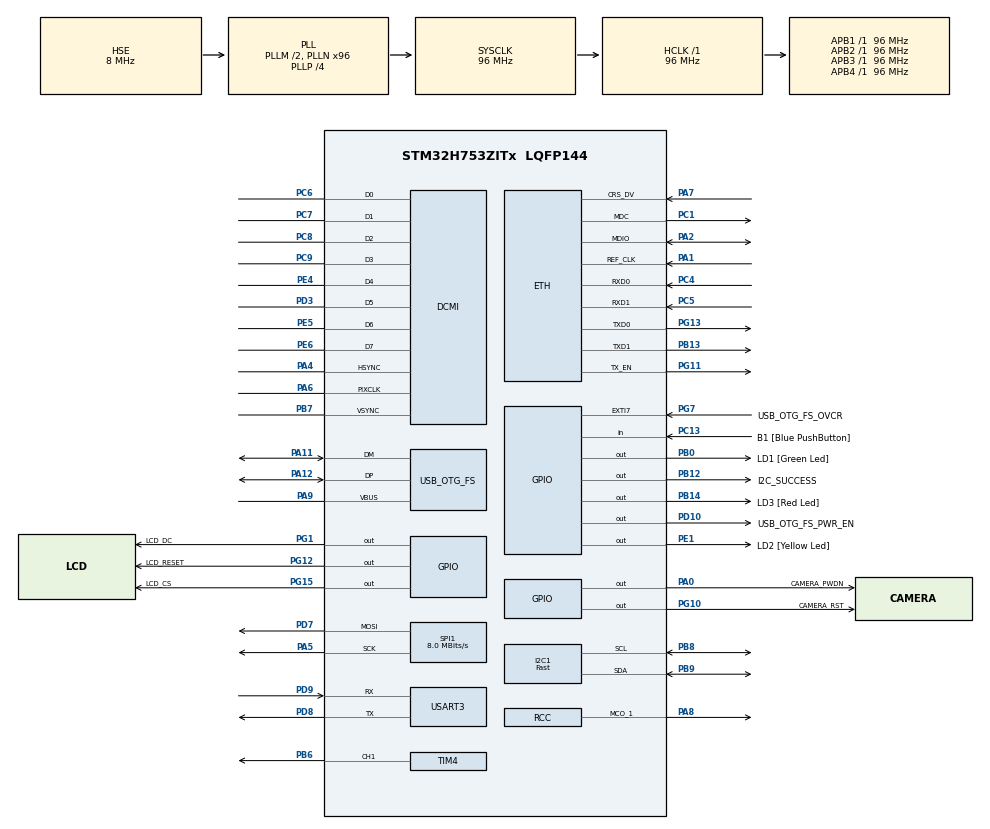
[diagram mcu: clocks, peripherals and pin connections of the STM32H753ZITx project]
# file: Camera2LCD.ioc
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CORTEX_M7.CPU_DCache=Disabled
CORTEX_M7.CPU_ICache=Disabled
CORTEX_M7.MPU_Control=__NULL
DCMI.HSPolarity=DCMI_HSPOLARITY_HIGH
DCMI.JPEGMode=DCMI_JPEG_DISABLE
DCMI.PCKPolarity=DCMI_PCKPOLARITY_RISING
DCMI.VSPolarity=DCMI_VSPOLARITY_LOW
Dma.DCMI.0.Direction=DMA_PERIPH_TO_MEMORY
Dma.DCMI.0.EventEnable=DISABLE
Dma.DCMI.0.FIFOMode=DMA_FIFOMODE_ENABLE
Dma.DCMI.0.FIFOThreshold=DMA_FIFO_THRESHOLD_FULL
Dma.DCMI.0.Instance=DMA1_Stream0
Dma.DCMI.0.MemBurst=DMA_MBURST_SINGLE
Dma.DCMI.0.MemDataAlignment=DMA_MDATAALIGN_WORD
Dma.DCMI.0.MemInc=DMA_MINC_ENABLE
Dma.DCMI.0.Mode=DMA_NORMAL
Dma.DCMI.0.PeriphBurst=DMA_PBURST_SINGLE
Dma.DCMI.0.PeriphDataAlignment=DMA_PDATAALIGN_WORD
Dma.DCMI.0.PeriphInc=DMA_PINC_DISABLE
Dma.DCMI.0.Polarity=HAL_DMAMUX_REQ_GEN_RISING
Dma.DCMI.0.Priority=DMA_PRIORITY_VERY_HIGH
Dma.DCMI.0.RequestNumber=1
Dma.DCMI.0.SignalID=NONE
Dma.DCMI.0.SyncEnable=DISABLE
Dma.DCMI.0.SyncPolarity=HAL_DMAMUX_SYNC_NO_EVENT
Dma.DCMI.0.SyncRequestNumber=1
Dma.DCMI.0.SyncSignalID=NONE
Dma.Request0=DCMI
Dma.Request1=SPI1_TX
Dma.SPI1_TX.1.Direction=DMA_MEMORY_TO_PERIPH
Dma.SPI1_TX.1.EventEnable=DISABLE
Dma.SPI1_TX.1.FIFOMode=DMA_FIFOMODE_ENABLE
Dma.SPI1_TX.1.FIFOThreshold=DMA_FIFO_THRESHOLD_FULL
Dma.SPI1_TX.1.Instance=DMA1_Stream1
Dma.SPI1_TX.1.MemBurst=DMA_MBURST_SINGLE
Dma.SPI1_TX.1.MemDataAlignment=DMA_MDATAALIGN_BYTE
Dma.SPI1_TX.1.MemInc=DMA_MINC_ENABLE
Dma.SPI1_TX.1.Mode=DMA_NORMAL
Dma.SPI1_TX.1.PeriphBurst=DMA_PBURST_SINGLE
Dma.SPI1_TX.1.PeriphDataAlignment=DMA_PDATAALIGN_BYTE
Dma.SPI1_TX.1.PeriphInc=DMA_PINC_DISABLE
Dma.SPI1_TX.1.Polarity=HAL_DMAMUX_REQ_GEN_RISING
Dma.SPI1_TX.1.Priority=DMA_PRIORITY_HIGH
Dma.SPI1_TX.1.RequestNumber=1
Dma.SPI1_TX.1.SignalID=NONE
Dma.SPI1_TX.1.SyncEnable=DISABLE
Dma.SPI1_TX.1.SyncPolarity=HAL_DMAMUX_SYNC_NO_EVENT
Dma.SPI1_TX.1.SyncRequestNumber=1
Dma.SPI1_TX.1.SyncSignalID=NONE
ETH.ETH_RX_DESC_CNT=4
ETH.ETH_TX_DESC_CNT=4
ETH.MACAddr=00\:80\:E1\:00\:00\:00
ETH.MediaInterface=HAL_ETH_RMII_MODE
ETH.RxBuffAddress=0x30040200
ETH.RxBuffLen=1524
ETH.RxDescAddress=0x30040000
ETH.TxDescAddress=0x30040060
I2C1.I2C_Speed_Mode=I2C_Fast
I2C1.Speed=200
I2C1.Timing=0x60000008
Mcu.Family=STM32H7
Mcu.Name=STM32H753ZITx
Mcu.Package=LQFP144
NVIC.DCMI_IRQn=true\:0\:0\:false\:false\:true\:true\:true\:true
NVIC.DMA1_Stream0_IRQn=true\:0\:0\:false\:false\:true\:false\:true\:true
NVIC.DMA1_Stream1_IRQn=true\:0\:0\:false\:false\:true\:false\:true\:true
NVIC.PriorityGroup=NVIC_PRIORITYGROUP_4
NVIC.SPI1_IRQn=true\:0\:0\:false\:false\:true\:false\:true\:true
NVIC.TIM4_IRQn=true\:0\:0\:false\:false\:true\:true\:true\:true
PA0.GPIO_Label=CAMERA_PWDN
PA0.PinState=GPIO_PIN_SET
PA0.Signal=GPIO_Output
PA1.Mode=RMII
PA1.Signal=ETH_REF_CLK
PA11.Mode=Device_Only
PA11.Signal=USB_OTG_FS_DM
PA12.Mode=Device_Only
PA12.Signal=USB_OTG_FS_DP
PA2.Mode=RMII
PA2.Signal=ETH_MDIO
PA4.Mode=Slave_8_bits_External_Synchro
PA4.Signal=DCMI_HSYNC
PA5.GPIO_PuPd=GPIO_PULLDOWN
PA5.GPIO_Speed=GPIO_SPEED_FREQ_VERY_HIGH
PA5.Mode=TX_Only_Simplex_Unidirect_Master
PA5.Signal=SPI1_SCK
PA6.GPIO_Speed=GPIO_SPEED_FREQ_VERY_HIGH
PA6.Mode=Slave_8_bits_External_Synchro
PA6.Signal=DCMI_PIXCLK
PA7.Mode=RMII
PA7.Signal=ETH_CRS_DV
PA8.GPIO_Speed=GPIO_SPEED_FREQ_VERY_HIGH
PA8.Mode=Clock-out-1
PA8.Signal=RCC_MCO_1
PA9.Mode=Activate_VBUS
PA9.Signal=USB_OTG_FS_VBUS
PB0.GPIO_Label=LD1 [Green Led]
PB0.Signal=GPIO_Output
PB12.GPIO_Label=I2C_SUCCESS
PB12.Signal=GPIO_Output
PB13.Mode=RMII
PB13.Signal=ETH_TXD1
PB14.GPIO_Label=LD3 [Red Led]
PB14.Signal=GPIO_Output
PB6.GPIO_FM6=SYSCFG_PMCR_I2C_PB6_FMP
PB6.GPIO_Speed=GPIO_SPEED_FREQ_VERY_HIGH
PB6.Signal=S_TIM4_CH1
PB7.Mode=Slave_8_bits_External_Synchro
PB7.Signal=DCMI_VSYNC
PB8.GPIO_Pu=GPIO_PULLUP
PB8.Mode=I2C
PB8.Signal=I2C1_SCL
PB9.GPIO_Pu=GPIO_PULLUP
PB9.Mode=I2C
PB9.Signal=I2C1_SDA
PC1.Mode=RMII
PC1.Signal=ETH_MDC
PC13.GPIO_Label=B1 [Blue PushButton]
PC13.Signal=GPIO_Input
PC14-OSC32_IN\ (OSC32_IN).Mode=LSE-External-Oscillator
PC14-OSC32_IN\ (OSC32_IN).Signal=RCC_OSC32_IN
PC15-OSC32_OUT\ (OSC32_OUT).Mode=LSE-External-Oscillator
PC15-OSC32_OUT\ (OSC32_OUT).Signal=RCC_OSC32_OUT
PC4.Mode=RMII
PC4.Signal=ETH_RXD0
PC5.Mode=RMII
PC5.Signal=ETH_RXD1
PC6.Mode=Slave_8_bits_External_Synchro
PC6.Signal=DCMI_D0
PC7.Mode=Slave_8_bits_External_Synchro
PC7.Signal=DCMI_D1
PC8.Mode=Slave_8_bits_External_Synchro
PC8.Signal=DCMI_D2
PC9.Mode=Slave_8_bits_External_Synchro
PC9.Signal=DCMI_D3
PD10.GPIO_Label=USB_OTG_FS_PWR_EN
PD10.Signal=GPIO_Output
PD3.Mode=Slave_8_bits_External_Synchro
PD3.Signal=DCMI_D5
PD7.GPIO_Speed=GPIO_SPEED_FREQ_VERY_HIGH
PD7.Mode=TX_Only_Simplex_Unidirect_Master
PD7.Signal=SPI1_MOSI
PD8.Mode=Asynchronous
PD8.Signal=USART3_TX
PD9.Mode=Asynchronous
PD9.Signal=USART3_RX
PE1.GPIO_Label=LD2 [Yellow Led]
PE1.Signal=GPIO_Output
PE4.Mode=Slave_8_bits_External_Synchro
PE4.Signal=DCMI_D4
PE5.Mode=Slave_8_bits_External_Synchro
PE5.Signal=DCMI_D6
PE6.Mode=Slave_8_bits_External_Synchro
PE6.Signal=DCMI_D7
PG1.GPIO_Label=LCD_DC
PG1.GPIO_Speed=GPIO_SPEED_FREQ_HIGH
PG1.Signal=GPIO_Output
PG10.GPIO_Label=CAMERA_RST
PG10.Signal=GPIO_Output
PG11.Mode=RMII
PG11.Signal=ETH_TX_EN
PG12.GPIO_Label=LCD_RESET
PG12.GPIO_PuPd=GPIO_PULLUP
PG12.PinState=GPIO_PIN_SET
PG12.Signal=GPIO_Output
PG13.Mode=RMII
PG13.Signal=ETH_TXD0
PG15.GPIO_Label=LCD_CS
PG15.GPIO_PuPd=GPIO_PULLUP
PG15.GPIO_Speed=GPIO_SPEED_FREQ_HIGH
PG15.PinState=GPIO_PIN_SET
PG15.Signal=GPIO_Output
PG7.GPIO_Label=USB_OTG_FS_OVCR
PG7.Signal=GPXTI7
PH0-OSC_IN\ (PH0).Mode=HSE-External-Oscillator
PH0-OSC_IN\ (PH0).Signal=RCC_OSC_IN
PH1-OSC_OUT\ (PH1).Mode=HSE-External-Oscillator
PH1-OSC_OUT\ (PH1).Signal=RCC_OSC_OUT
ProjectManager.HeapSize=0x200
ProjectManager.StackSize=0x400
ProjectManager.TargetToolchain=STM32CubeIDE
RCC.ADCFreq_Value=60000000
RCC.APB1Freq_Value=96000000
RCC.APB2Freq_Value=96000000
RCC.APB3Freq_Value=96000000
RCC.APB4Freq_Value=96000000
RCC.CortexFreq_Value=96000000
RCC.DIVM1=2
RCC.DIVM2=4
RCC.DIVM3=8
RCC.DIVN1=96
RCC.DIVN2=240
RCC.DIVN3=150
RCC.DIVP1=4
RCC.DIVP2=8
RCC.DIVP3=10
RCC.DIVQ1=24
RCC.DIVQ2=8
RCC.DIVQ3=10
RCC.DIVR3=10
RCC.HCLKFreq_Value=96000000
RCC.HSE_VALUE=8000000
RCC.I2C123CLockSelection=RCC_I2C123CLKSOURCE_PLL3
RCC.PLLSourceVirtual=RCC_PLLSOURCE_HSE
RCC.PWR_Regulator_Voltage_Scale=PWR_REGULATOR_VOLTAGE_SCALE1
RCC.RCC_MCO1Source=RCC_MCO1SOURCE_PLL1QCLK
RCC.RCC_TIM_PRescaler_Selection=RCC_TIMPRES_DESACTIVATED
RCC.SYSCLKFreq_VALUE=96000000
RCC.SYSCLKSource=RCC_SYSCLKSOURCE_PLLCLK
RCC.USART234578CLockSelection=RCC_USART234578CLKSOURCE_PLL2
RCC.USBCLockSelection=RCC_USBCLKSOURCE_HSI48
RCC.USBFreq_Value=48000000
SH.S_TIM4_CH1.0=TIM4_CH1,PWM Generation1 CH1
SPI1.BaudRatePrescaler=SPI_BAUDRATEPRESCALER_2
SPI1.CLKPhase=SPI_PHASE_1EDGE
SPI1.CLKPolarity=SPI_POLARITY_LOW
SPI1.CalculateBaudRate=8.0 MBits/s
SPI1.DataSize=SPI_DATASIZE_8BIT
SPI1.Direction=SPI_DIRECTION_2LINES_TXONLY
SPI1.Mode=SPI_MODE_MASTER
SPI1.VirtualType=VM_MASTER
TIM4.Channel-PWM\ Generation1\ CH1=TIM_CHANNEL_1
TIM4.ClockDivision=TIM_CLOCKDIVISION_DIV1
TIM4.OCFastMode_PWM-PWM\ Generation1\ CH1=TIM_OCFAST_ENABLE
TIM4.Period=3
TIM4.Prescaler=1
TIM4.Pulse-PWM\ Generation1\ CH1=2
USART3.VirtualMode-Asynchronous=VM_ASYNC
USB_OTG_FS.Sof_enable=ENABLE
USB_OTG_FS.VirtualMode=Device_Only
USB_OTG_FS.battery_charging_enable=ENABLE
USB_OTG_FS.low_power_enable=DISABLE
USB_OTG_FS.lpm_enable=DISABLE
USB_OTG_FS.use_dedicated_ep1=DISABLE
USB_OTG_FS.vbus_sensing_enable=ENABLE
VP_MEMORYMAP_VS_MEMORYMAP.Mode=CurAppReg
VP_TIM1_VS_ClockSourceITR.Mode=TriggerSource_ITR0
VP_TIM4_VS_ClockSourceINT.Mode=Internal
board=NUCLEO-H753ZI

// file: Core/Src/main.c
/* USER CODE BEGIN Header */
/**
 ******************************************************************************
 * @file           : main.c
 * @brief          : Main program body
 ******************************************************************************
 * @attention
 *
 * Copyright (c) 2025 STMicroelectronics.
 * All rights reserved.
 *
 * This software is licensed under terms that can be found in the LICENSE file
 * in the root directory of this software component.
 * If no LICENSE file comes with this software, it is provided AS-IS.
 *
 ******************************************************************************
 */
/* USER CODE END Header */
#include "main.h"
#include "dcmi.h"
#include "dma.h"
#include "eth.h"
#include "i2c.h"
#include "memorymap.h"
#include "spi.h"
#include "tim.h"
#include "usart.h"
#include "usb_otg.h"
#include "gpio.h"

/* USER CODE BEGIN Includes */
#include "stm32h7xx_hal.h"
#include "stm32h7xx_hal_i2c.h"

#include "ov5640.h"
/* USER CODE END Includes */

void SystemClock_Config(void);

/* USER CODE BEGIN 0 */
void ILI9341_SendCommand(uint8_t cmd){
	HAL_GPIO_WritePin(LCD_DC_GPIO_Port,LCD_DC_Pin,GPIO_PIN_RESET);
	HAL_GPIO_WritePin(LCD_CS_GPIO_Port, LCD_CS_Pin, GPIO_PIN_RESET);
	HAL_SPI_Transmit(&hspi1, &cmd, 1, HAL_MAX_DELAY);
	HAL_GPIO_WritePin(LCD_CS_GPIO_Port, LCD_CS_Pin,GPIO_PIN_SET);

}

void ILI9341_SendData(uint8_t *data, uint16_t length){
	HAL_GPIO_WritePin(LCD_DC_GPIO_Port,LCD_DC_Pin,GPIO_PIN_SET);
	HAL_GPIO_WritePin(LCD_CS_GPIO_Port, LCD_CS_Pin, GPIO_PIN_RESET);
	HAL_SPI_Transmit(&hspi1, data, length, HAL_MAX_DELAY);
	HAL_GPIO_WritePin(LCD_CS_GPIO_Port, LCD_CS_Pin,GPIO_PIN_SET);
}

void LCDBlink_Test(void) {
    while(1) {
        // Turn display ON (should show whatever was last written)
        ILI9341_SendCommand(0x29);  // Display ON
        HAL_UART_Transmit(&huart3, "Display ON\r\n", 12, HAL_MAX_DELAY);
        HAL_Delay(1000);

        // Turn display OFF (should go black/blank)
        ILI9341_SendCommand(0x28);  // Display OFF
        HAL_UART_Transmit(&huart3, "Display OFF\r\n", 13, HAL_MAX_DELAY);
        HAL_Delay(1000);
    }
}
void ILI9341_Init(void) {
    // Hardware reset
    HAL_GPIO_WritePin(LCD_RESET_GPIO_Port, LCD_RESET_Pin, GPIO_PIN_RESET);
    HAL_Delay(20);
    HAL_GPIO_WritePin(LCD_RESET_GPIO_Port, LCD_RESET_Pin, GPIO_PIN_SET);
    HAL_Delay(150);

    // Basic initialization sequence
    ILI9341_SendCommand(0x01);  // Software reset
    HAL_Delay(10);
    char buff1[30];
    ILI9341_SendCommand(0xCF);  // Power Control B
    uint8_t init_data1[] = {0x00, 0xC1, 0x30};
    ILI9341_SendData(init_data1, 3);

    ILI9341_SendCommand(0x36);  // Memory Access Control
    uint8_t madctl = 0x48;      // RGB order, BGR encoding
    ILI9341_SendData(&madctl, 1);

    ILI9341_SendCommand(0x3A);  // Pixel Format
    uint8_t pixfmt = 0x55;      // 16-bit/pixel
    ILI9341_SendData(&pixfmt, 1);

    ILI9341_SendCommand(0x11);  // Sleep out
    HAL_Delay(120);

    ILI9341_SendCommand(0x29);  // Display on
    HAL_Delay(10);
}
void ILI9341_FillScreen(uint16_t color) {
    // Set column address (0 to 239)
    uint8_t col_cmd = 0x2A;
    uint8_t col_data[4] = {0x00, 0x00, 0x00, 0xEF};
    uint8_t page_cmd = 0x2B;
    uint8_t page_data[4] = {0x00, 0x00, 0x01, 0x3F};
    uint8_t mem_cmd = 0x2C;
    ILI9341_SendCommand(col_cmd);
    ILI9341_SendData(&col_data, 4);
    ILI9341_SendCommand(page_cmd);
    ILI9341_SendData(&page_data, 4);
    ILI9341_SendCommand(mem_cmd);
    uint8_t pixel_data[2] = {color >> 8, color & 0xFF};

    HAL_GPIO_WritePin(LCD_DC_GPIO_Port, LCD_DC_Pin, GPIO_PIN_SET);     // Data mode
    HAL_GPIO_WritePin(LCD_CS_GPIO_Port, LCD_CS_Pin, GPIO_PIN_RESET);   // Select

    for(uint32_t i = 0; i < 240 * 320; i++) {
        HAL_SPI_Transmit(&hspi1, pixel_data, 2, HAL_MAX_DELAY);
    }

    HAL_GPIO_WritePin(LCD_CS_GPIO_Port, LCD_CS_Pin, GPIO_PIN_SET);

// Deselect
}
void ILI9341_Init_Complete(void) {
    // Hardware reset
    HAL_GPIO_WritePin(LCD_RESET_GPIO_Port, LCD_RESET_Pin, GPIO_PIN_RESET);
    HAL_Delay(10);
    HAL_GPIO_WritePin(LCD_RESET_GPIO_Port, LCD_RESET_Pin, GPIO_PIN_SET);
    HAL_Delay(120);

    // Software reset
    ILI9341_SendCommand(0x01);  // SWRESET
    HAL_Delay(150);

    // Display off during initialization
    ILI9341_SendCommand(0x28);  // Display OFF

    // Power control sequence (from Adafruit library)
    ILI9341_SendCommand(0xCB);  // Power control B
    uint8_t pwctrlb[] = {0x39, 0x2C, 0x00, 0x34, 0x02};
    ILI9341_SendData(pwctrlb, 5);

    ILI9341_SendCommand(0xCF);  // Power control A
    uint8_t pwctrla[] = {0x00, 0xC1, 0x30};
    ILI9341_SendData(pwctrla, 3);

    ILI9341_SendCommand(0xE8);  // Driver timing control A
    uint8_t dtca[] = {0x85, 0x00, 0x78};
    ILI9341_SendData(dtca, 3);

    ILI9341_SendCommand(0xEA);  // Driver timing control B
    uint8_t dtcb[] = {0x00, 0x00};
    ILI9341_SendData(dtcb, 2);

    ILI9341_SendCommand(0xED);  // Power on sequence control
    uint8_t pwseq[] = {0x64, 0x03, 0x12, 0x81};
    ILI9341_SendData(pwseq, 4);

    ILI9341_SendCommand(0xF7);  // Pump ratio control
    uint8_t pumprc[] = {0x20};
    ILI9341_SendData(pumprc, 1);

    // Main power control registers
    ILI9341_SendCommand(0xC0);  // Power control 1
    uint8_t pwctrl1[] = {0x23};  // VRH[5:0]
    ILI9341_SendData(pwctrl1, 1);

    ILI9341_SendCommand(0xC1);  // Power control 2
    uint8_t pwctrl2[] = {0x10};  // SAP[2:0];BT[3:0]
    ILI9341_SendData(pwctrl2, 1);

    ILI9341_SendCommand(0xC5);  // VCOM control 1
    uint8_t vmctrl1[] = {0x3E, 0x28};
    ILI9341_SendData(vmctrl1, 2);

    ILI9341_SendCommand(0xC7);  // VCOM control 2
    uint8_t vmctrl2[] = {0x86};
    ILI9341_SendData(vmctrl2, 1);

    // Memory and display settings
    ILI9341_SendCommand(0x36);  // Memory Access Control
    uint8_t madctl[] = {0x48};   // BGR color order, normal orientation
    ILI9341_SendData(madctl, 1);

    ILI9341_SendCommand(0x3A);  // Pixel format
    uint8_t pixfmt[] = {0x55};   // 16 bits per pixel (RGB565)
    ILI9341_SendData(pixfmt, 1);

    ILI9341_SendCommand(0xB1);  // Frame rate control
    uint8_t frmctrl[] = {0x00, 0x18};
    ILI9341_SendData(frmctrl, 2);

    ILI9341_SendCommand(0xB6);  // Display function control
    uint8_t dfunctr[] = {0x08, 0x82, 0x27};
    ILI9341_SendData(dfunctr, 3);

    ILI9341_SendCommand(0xF2);  // 3Gamma function disable
    uint8_t gamma3g[] = {0x00};
    ILI9341_SendData(gamma3g, 1);

    ILI9341_SendCommand(0x26);  // Gamma curve selected
    uint8_t gamset[] = {0x01};
    ILI9341_SendData(gamset, 1);

    // Positive gamma correction
    ILI9341_SendCommand(0xE0);
    uint8_t pgamma[] = {0x0F, 0x31, 0x2B, 0x0C, 0x0E, 0x08, 0x4E, 0xF1,
                        0x37, 0x07, 0x10, 0x03, 0x0E, 0x09, 0x00};
    ILI9341_SendData(pgamma, 15);

    // Negative gamma correction
    ILI9341_SendCommand(0xE1);
    uint8_t ngamma[] = {0x00, 0x0E, 0x14, 0x03, 0x11, 0x07, 0x31, 0xC1,
                        0x48, 0x08, 0x0F, 0x0C, 0x31, 0x36, 0x0F};
    ILI9341_SendData(ngamma, 15);

    // Exit sleep mode
    ILI9341_SendCommand(0x11);  // SLPOUT
    HAL_Delay(120);

    // Display on
    ILI9341_SendCommand(0x29);  // DISPON
    HAL_Delay(100);

    HAL_UART_Transmit(&huart3, "ILI9341 Init Complete!\r\n", 24, HAL_MAX_DELAY);
}

// Basic test function to verify initialization
void ILI9341_TestDisplay(void) {
    // Fill screen with different colors to test
    ILI9341_FillScreen(0xF800);  // Red
    HAL_Delay(1000);
    ILI9341_FillScreen(0x07E0);  // Green
    HAL_Delay(1000);
    ILI9341_FillScreen(0x001F);  // Blue
    HAL_Delay(1000);
    ILI9341_FillScreen(0xFFFF);  // White
    HAL_Delay(1000);
    ILI9341_FillScreen(0x0000);  // Black
}
void TestSPIBasic(void) {
    HAL_UART_Transmit(&huart3, "Testing basic SPI...\r\n", 22, HAL_MAX_DELAY);

    uint8_t testByte = 0xAA;
    HAL_StatusTypeDef status;

    // Test SPI transmission
    HAL_GPIO_WritePin(LCD_CS_GPIO_Port, LCD_CS_Pin, GPIO_PIN_RESET);  // Select
    status = HAL_SPI_Transmit(&hspi1, &testByte, 1, HAL_MAX_DELAY);
    HAL_GPIO_WritePin(LCD_CS_GPIO_Port, LCD_CS_Pin, GPIO_PIN_SET);    // Deselect

    char spiMsg[50];
    sprintf(spiMsg, "SPI Status: %d (0=OK)\r\n", status);
    HAL_UART_Transmit(&huart3, spiMsg, strlen(spiMsg), HAL_MAX_DELAY);
}
void TestGPIOPins(void) {
    HAL_UART_Transmit(&huart3, "Testing GPIO pins...\r\n", 22, HAL_MAX_DELAY);

    // Test CS pin - should control chip select
    for(int i = 0; i < 5; i++) {
        HAL_GPIO_WritePin(LCD_CS_GPIO_Port, LCD_CS_Pin, GPIO_PIN_RESET);  // LOW
        HAL_Delay(500);
        HAL_GPIO_WritePin(LCD_CS_GPIO_Port, LCD_CS_Pin, GPIO_PIN_SET);    // HIGH
        HAL_Delay(500);
        char msg[30];
        sprintf(msg, "CS Toggle %d\r\n", i);
        HAL_UART_Transmit(&huart3, msg, strlen(msg), HAL_MAX_DELAY);
    }

    // Test RESET pin - this should cause visible display reset
    HAL_UART_Transmit(&huart3, "Testing RESET pin...\r\n", 22, HAL_MAX_DELAY);
    HAL_GPIO_WritePin(LCD_RESET_GPIO_Port, LCD_RESET_Pin, GPIO_PIN_RESET);  // Should reset display
    HAL_Delay(2000);  // Display should go off/change
    HAL_GPIO_WritePin(LCD_RESET_GPIO_Port, LCD_RESET_Pin, GPIO_PIN_SET);    // Should restore display
    HAL_Delay(2000);

    HAL_UART_Transmit(&huart3, "GPIO test complete\r\n", 21, HAL_MAX_DELAY);
}

/* USER CODE END 0 */

int main(void)
{

  /* MCU Configuration--------------------------------------------------------*/

  /* Reset of all peripherals, Initializes the Flash interface and the Systick. */
  HAL_Init();

  /* Configure the system clock */
  SystemClock_Config();

  /* Initialize all configured peripherals */
  MX_GPIO_Init();
  MX_DMA_Init();
  MX_USB_OTG_FS_PCD_Init();
  MX_DCMI_Init();
  MX_I2C1_Init();
  MX_SPI1_Init();
  MX_TIM1_Init();
  MX_TIM4_Init();
  MX_ETH_Init();
  MX_USART3_UART_Init();
  /* USER CODE BEGIN 2 */
  extern DCMI_HandleTypeDef hdcmi;
  HAL_StatusTypeDef cameraConfigStatus = OV5640_PowerUpSequence();
  uint8_t reg1 = 0;
  OV5640_ReadReg(OV5640_POLARITY_CTRL,&reg1);
  char buffReg1[20];
  sprintf(buffReg1, "Polarity: %d\r\n", reg1);
  HAL_UART_Transmit(&huart3, buffReg1, strlen(buffReg1), HAL_MAX_DELAY);
	if (cameraConfigStatus == HAL_OK){
		HAL_GPIO_WritePin(I2C_SUCCESS_GPIO_Port, I2C_SUCCESS_Pin, GPIO_PIN_SET);
		HAL_Delay(1000);
		HAL_GPIO_WritePin(I2C_SUCCESS_GPIO_Port, I2C_SUCCESS_Pin,GPIO_PIN_RESET);
		HAL_Delay(500);
	}

	frameCapture();
	char buffFrame[20];
	sprintf(buffFrame, "Start of image: 0x%08lX,\n\r", DCMI->DR);
	HAL_UART_Transmit(&huart3, buffFrame, strlen(buffFrame),HAL_MAX_DELAY);
	ILI9341_Init_Complete();
	ILI9341_TestDisplay();
	TestSPIBasic();
	TestGPIOPins();

  /* USER CODE END 2 */

  /* Infinite loop */
	while (1) {

	}
}

void SystemClock_Config(void)
{
  RCC_OscInitTypeDef RCC_OscInitStruct = {0};
  RCC_ClkInitTypeDef RCC_ClkInitStruct = {0};

  /** Supply configuration update enable
  */
  HAL_PWREx_ConfigSupply(PWR_LDO_SUPPLY);

  /** Configure the main internal regulator output voltage
  */
  __HAL_PWR_VOLTAGESCALING_CONFIG(PWR_REGULATOR_VOLTAGE_SCALE1);

  while(!__HAL_PWR_GET_FLAG(PWR_FLAG_VOSRDY)) {}

  /** Initializes the RCC Oscillators according to the specified parameters
  * in the RCC_OscInitTypeDef structure.
  */
  RCC_OscInitStruct.OscillatorType = RCC_OSCILLATORTYPE_HSI48|RCC_OSCILLATORTYPE_HSE;
  RCC_OscInitStruct.HSEState = RCC_HSE_ON;
  RCC_OscInitStruct.HSI48State = RCC_HSI48_ON;
  RCC_OscInitStruct.PLL.PLLState = RCC_PLL_ON;
  RCC_OscInitStruct.PLL.PLLSource = RCC_PLLSOURCE_HSE;
  RCC_OscInitStruct.PLL.PLLM = 2;
  RCC_OscInitStruct.PLL.PLLN = 96;
  RCC_OscInitStruct.PLL.PLLP = 4;
  RCC_OscInitStruct.PLL.PLLQ = 24;
  RCC_OscInitStruct.PLL.PLLR = 2;
  RCC_OscInitStruct.PLL.PLLRGE = RCC_PLL1VCIRANGE_2;
  RCC_OscInitStruct.PLL.PLLVCOSEL = RCC_PLL1VCOWIDE;
  RCC_OscInitStruct.PLL.PLLFRACN = 0;
  if (HAL_RCC_OscConfig(&RCC_OscInitStruct) != HAL_OK)
  {
    Error_Handler();
  }

  /** Initializes the CPU, AHB and APB buses clocks
  */
  RCC_ClkInitStruct.ClockType = RCC_CLOCKTYPE_HCLK|RCC_CLOCKTYPE_SYSCLK
                              |RCC_CLOCKTYPE_PCLK1|RCC_CLOCKTYPE_PCLK2
                              |RCC_CLOCKTYPE_D3PCLK1|RCC_CLOCKTYPE_D1PCLK1;
  RCC_ClkInitStruct.SYSCLKSource = RCC_SYSCLKSOURCE_PLLCLK;
  RCC_ClkInitStruct.SYSCLKDivider = RCC_SYSCLK_DIV1;
  RCC_ClkInitStruct.AHBCLKDivider = RCC_HCLK_DIV1;
  RCC_ClkInitStruct.APB3CLKDivider = RCC_APB3_DIV1;
  RCC_ClkInitStruct.APB1CLKDivider = RCC_APB1_DIV1;
  RCC_ClkInitStruct.APB2CLKDivider = RCC_APB2_DIV1;
  RCC_ClkInitStruct.APB4CLKDivider = RCC_APB4_DIV1;

  if (HAL_RCC_ClockConfig(&RCC_ClkInitStruct, FLASH_LATENCY_1) != HAL_OK)
  {
    Error_Handler();
  }
  __HAL_RCC_PLLCLKOUT_ENABLE(RCC_PLL1_DIVQ);
  HAL_RCC_MCOConfig(RCC_MCO1, RCC_MCO1SOURCE_PLL1QCLK, RCC_MCODIV_1);
}

void Error_Handler(void)
{
	__disable_irq();
	while (1) {
	}
}
